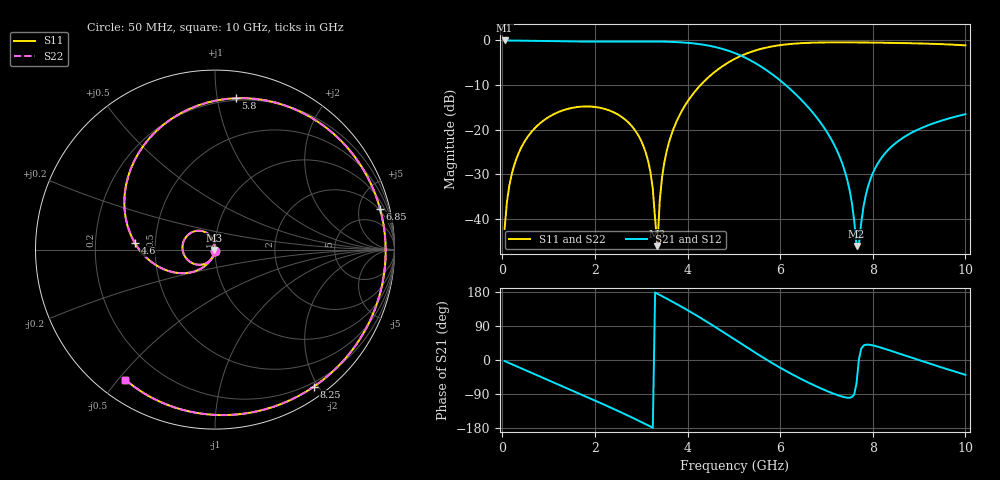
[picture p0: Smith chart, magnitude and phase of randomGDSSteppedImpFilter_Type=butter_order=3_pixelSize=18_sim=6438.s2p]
! freq	dB(S11)	phase(S11)	dB(S12)	phase(S12)
!  dB(S21)	phase(S21)	dB(S22)	phase(S22)
!S-par simulation data
#  GHz  S  DB  R 50
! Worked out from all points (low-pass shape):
!   200 points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, 50 MHz to 10 GHz, reference 50 ohm
!   highest |S21| = -0.01 dB at 50 MHz (marker M1); lowest = -46.1 dB at 7.65 GHz (marker M2)
!   |S21| within 3 dB of the highest: start of sweep to 5.061 GHz
!   lowest |S11| = -46.1 dB at 3.35 GHz (marker M3), VSWR 1.01, Z = 49.5 - j0.195 ohm
!   |S11| at or under -10 dB: start of sweep to 4.282 GHz
!   |S22| runs from -46.8 to -0.4 dB; largest |S21 - S12| = 0
!   S11 on the Smith chart (normalised r, x): 50 MHz: 1.00, -0.02; 4.6 GHz: 0.38, +0.04; 5.8 GHz: 0.18, +1.13; 6.85 GHz: 1.78, +7.86; 8.25 GHz: 0.14, -1.94; 10 GHz: 0.08, -0.52
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0.05  -42.26 -92.6  -0.01 -2.8  -0.01 -2.8  -42.26 -92.6
0.2  -30.16 -101.4  -0.03 -10.8  -0.03 -10.8  -30.16 -101.5
0.5  -22.36 -117.5  -0.07 -26.9  -0.07 -26.9  -22.36 -117.5
1.75  -14.82 175.9  -0.26 -93.4  -0.26 -93.4  -14.82 175.8
2.95  -21.53 109.9  -0.24 -160.5  -0.24 -160.5  -21.53 109.5
3.2  -29.57 97.8  -0.24 -175.7  -0.24 -175.7  -29.58 96.7
3.35  -46.13 -156.5  -0.25 174.9  -0.25 174.9  -46.78 -155.4
3.4  -35.91 -110.4  -0.26 171.7  -0.26 171.7  -35.97 -108.3
3.5  -27.32 -109.9  -0.28 165.3  -0.28 165.3  -27.33 -109.2
3.75  -18.48 -124.0  -0.37 148.7  -0.37 148.7  -18.48 -123.8
4.6  -6.96 175.2  -1.49 87.0  -1.49 87.0  -6.96 175.1
5.05  -3.98 140.0  -2.96 51.7  -2.96 51.7  -3.98 139.9
5.8  -1.40 82.3  -7.38 -6.0  -7.38 -6.0  -1.40 82.2
6.7  -0.51 22.5  -16.13 -64.9  -16.13 -64.9  -0.51 22.4
6.85  -0.47 13.8  -18.11 -73.3  -18.11 -73.3  -0.47 13.7
7.4  -0.43 -15.5  -29.45 -98.5  -29.45 -98.5  -0.43 -15.5
7.65  -0.45 -27.5  -46.11 -61.0  -46.11 -61.0  -0.45 -27.6
7.9  -0.48 -39.0  -32.66 40.6  -32.66 40.6  -0.47 -39.1
8.25  -0.52 -54.2  -25.51 29.8  -25.51 29.8  -0.52 -54.3
8.35  -0.54 -58.4  -24.36 25.9  -24.36 25.9  -0.54 -58.5
9.15  -0.72 -90.6  -19.21 -6.5  -19.21 -6.5  -0.72 -90.6
10  -1.11 -124.6  -16.54 -39.0  -16.54 -39.0  -1.11 -124.6
